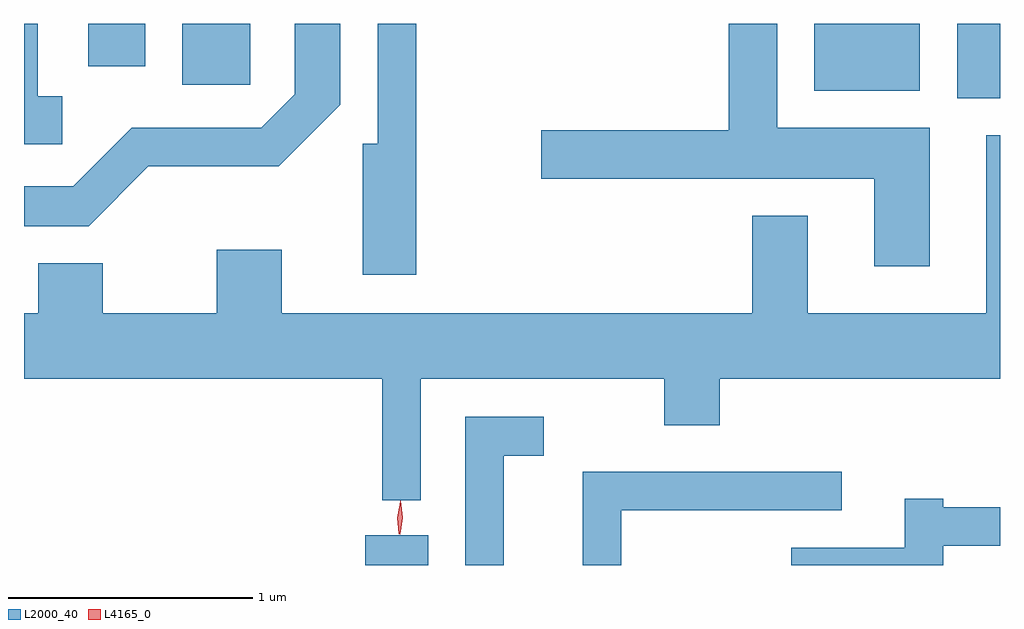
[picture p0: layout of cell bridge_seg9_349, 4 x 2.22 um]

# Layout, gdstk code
import gdstk
lib = gdstk.Library(unit=1e-6, precision=1e-09)
def R(c, l, rs):  # rectangles x0, y0, x1, y1
    for r in rs: c.add(gdstk.rectangle(r[:2], r[2:], *l))
def P(c, l, *ps):  # polygons
    for p in ps: c.add(gdstk.Polygon(p, *l))
L2000_40 = (2000, 40)
L4165_0 = (4165, 0)

bridge_seg9_349 = lib.new_cell('bridge_seg9_349')
R(bridge_seg9_349, L2000_40, [(757.336,1944.432,757.594,1944.554), (759.761,1946.346,759.937,1946.65), (759.176,1946.376,759.609,1946.65), (756.586,1946.401,756.864,1946.65), (756.201,1946.476,756.434,1946.65)])
P(bridge_seg9_349, L2000_40, [(759.649,1946.224),(759.024,1946.224),(759.024,1946.65),(758.826,1946.65),(758.826,1946.214),(758.056,1946.214),(758.056,1946.016),(759.421,1946.016),(759.421,1945.656),(759.649,1945.656)],
  [(756.094,1946.354),(755.994,1946.354),(755.994,1946.65),(755.937,1946.65),(755.937,1946.156),(756.094,1946.156)],
  [(756.447,1946.066),(756.982,1946.066),(757.234,1946.319),(757.234,1946.65),(757.046,1946.65),(757.046,1946.362),(756.909,1946.224),(756.379,1946.224),(756.139,1945.984),(755.937,1945.984),(755.937,1945.821),(756.202,1945.821)],
  [(757.544,1946.65),(757.386,1946.65),(757.386,1946.159),(757.326,1946.159),(757.326,1945.621),(757.544,1945.621)],
  [(757.564,1945.196),(758.561,1945.196),(758.561,1945.006),(758.789,1945.006),(758.789,1945.196),(759.937,1945.196),(759.937,1946.194),(759.881,1946.194),(759.881,1945.464),(759.149,1945.464),(759.149,1945.864),(758.921,1945.864),(758.921,1945.464),(756.994,1945.464),(756.994,1945.724),(756.726,1945.724),(756.726,1945.464),(756.259,1945.464),(756.259,1945.669),(755.996,1945.669),(755.996,1945.464),(755.937,1945.464),(755.937,1945.196),(757.406,1945.196),(757.406,1944.698),(757.564,1944.698)],
  [(757.904,1944.881),(758.068,1944.881),(758.068,1945.039),(757.746,1945.039),(757.746,1944.432),(757.904,1944.432)],
  [(758.384,1944.656),(759.288,1944.656),(759.288,1944.814),(758.226,1944.814),(758.226,1944.432),(758.384,1944.432)],
  [(759.704,1944.511),(759.937,1944.511),(759.937,1944.669),(759.704,1944.669),(759.704,1944.704),(759.546,1944.704),(759.546,1944.504),(759.081,1944.504),(759.081,1944.432),(759.704,1944.432)])
P(bridge_seg9_349, L4165_0, [(757.477,1944.558),(757.47,1944.627),(757.48,1944.695),(757.481,1944.695),(757.481,1944.695),(757.489,1944.626),(757.478,1944.558),(757.478,1944.558)],
  [(757.472,1944.561),(757.467,1944.627),(757.48,1944.692),(757.481,1944.692),(757.481,1944.692),(757.487,1944.626),(757.474,1944.561),(757.473,1944.561)])

lib.write_gds('bridge_seg9_349.gds')
